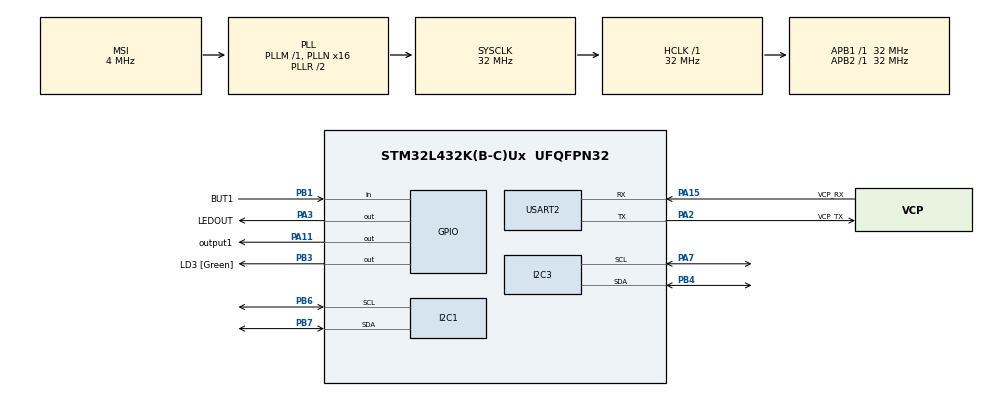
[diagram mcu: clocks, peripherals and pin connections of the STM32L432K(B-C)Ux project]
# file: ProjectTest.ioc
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I2C1.OwnAddress=0x10
I2C1.Timing=0x00707CBB
I2C3.Timing=0x00707CBB
Mcu.Family=STM32L4
Mcu.Name=STM32L432K(B-C)Ux
Mcu.Package=UFQFPN32
NVIC.I2C1_ER_IRQn=true\:0\:0\:false\:false\:true\:true\:true\:true
NVIC.I2C1_EV_IRQn=true\:0\:0\:false\:false\:true\:true\:true\:true
NVIC.I2C3_ER_IRQn=true\:0\:0\:false\:false\:true\:true\:true\:true
NVIC.I2C3_EV_IRQn=true\:0\:0\:false\:false\:true\:true\:true\:true
NVIC.PriorityGroup=NVIC_PRIORITYGROUP_4
PA0.GPIO_Label=MCO [High speed clock in]
PA0.Mode=HSE-External-Clock-Source-for-LittleOrca
PA0.Signal=RCC_CK_IN
PA11.GPIO_Label=output1
PA11.GPIO_PuPd=GPIO_NOPULL
PA11.GPIO_Speed=GPIO_SPEED_FREQ_LOW
PA11.Signal=GPIO_Output
PA13\ (JTMS-SWDIO).GPIO_Label=SWDIO
PA13\ (JTMS-SWDIO).Mode=Serial_Wire
PA13\ (JTMS-SWDIO).Signal=SYS_JTMS-SWDIO
PA14\ (JTCK-SWCLK).GPIO_Label=SWCLK
PA14\ (JTCK-SWCLK).Mode=Serial_Wire
PA14\ (JTCK-SWCLK).Signal=SYS_JTCK-SWCLK
PA15\ (JTDI).GPIO_Label=VCP_RX
PA15\ (JTDI).Mode=Asynchronous
PA15\ (JTDI).Signal=USART2_RX
PA2.GPIO_Label=VCP_TX
PA2.Mode=Asynchronous
PA2.Signal=USART2_TX
PA3.GPIO_Label=LEDOUT
PA3.Signal=GPIO_Output
PA7.GPIO_Pu=GPIO_PULLUP
PA7.Mode=I2C
PA7.Signal=I2C3_SCL
PB1.GPIO_Label=BUT1
PB1.GPIO_PuPd=GPIO_PULLUP
PB1.Signal=GPIO_Input
PB3\ (JTDO-TRACESWO).GPIO_Label=LD3 [Green]
PB3\ (JTDO-TRACESWO).GPIO_PuPd=GPIO_NOPULL
PB3\ (JTDO-TRACESWO).GPIO_Speed=GPIO_SPEED_FREQ_LOW
PB3\ (JTDO-TRACESWO).Signal=GPIO_Output
PB4\ (NJTRST).GPIO_Pu=GPIO_PULLUP
PB4\ (NJTRST).Mode=I2C
PB4\ (NJTRST).Signal=I2C3_SDA
PB6.GPIO_Pu=GPIO_PULLUP
PB6.Mode=I2C
PB6.Signal=I2C1_SCL
PB7.GPIO_Pu=GPIO_PULLUP
PB7.Mode=I2C
PB7.Signal=I2C1_SDA
PC14-OSC32_IN\ (PC14).Mode=LSE-External-Oscillator
PC14-OSC32_IN\ (PC14).Signal=RCC_OSC32_IN
PC15-OSC32_OUT\ (PC15).Mode=LSE-External-Oscillator
PC15-OSC32_OUT\ (PC15).Signal=RCC_OSC32_OUT
ProjectManager.HeapSize=0x200
ProjectManager.StackSize=0x400
ProjectManager.TargetToolchain=STM32CubeIDE
RCC.AHBFreq_Value=32000000
RCC.APB1Freq_Value=32000000
RCC.APB1TimFreq_Value=32000000
RCC.APB2Freq_Value=32000000
RCC.APB2TimFreq_Value=32000000
RCC.CortexFreq_Value=32000000
RCC.HCLKFreq_Value=32000000
RCC.HSE_VALUE=8000000
RCC.HSI16_VALUE=16000000
RCC.HSI48_VALUE=48000000
RCC.HSI_VALUE=16000000
RCC.MSI_VALUE=4000000
RCC.PLLMUL=RCC_PLLMUL_4
RCC.PLLN=16
RCC.SYSCLKFreq_VALUE=32000000
RCC.SYSCLKSource=RCC_SYSCLKSOURCE_PLLCLK
RCC.VCOOutputFreq_Value=64000000
USART2.VirtualMode-Asynchronous=VM_ASYNC
board=NUCLEO-L432KC

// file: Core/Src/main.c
/* USER CODE BEGIN Header */
/**
  ******************************************************************************
  * @file           : main.c
  * @brief          : Main program body
  ******************************************************************************
  * @attention
  *
  * Copyright (c) 2024 STMicroelectronics.
  * All rights reserved.
  *
  * This software is licensed under terms that can be found in the LICENSE file
  * in the root directory of this software component.
  * If no LICENSE file comes with this software, it is provided AS-IS.
  *
  ******************************************************************************
  */
/* USER CODE END Header */
#include "main.h"

/* USER CODE BEGIN Includes */
#include <string.h>
#include <stdio.h>
#include <stdlib.h>
#include "sht3x.h"
/* USER CODE END Includes */

/* USER CODE BEGIN PD */
#define BUF_SIZE 2;
/* USER CODE END PD */

I2C_HandleTypeDef hi2c1;
I2C_HandleTypeDef hi2c3;

UART_HandleTypeDef huart2;

/* USER CODE BEGIN PV */
//static const uint8_t SGP30_ADDR = 0x44 << 1;
//static const uint8_t REG_GAS = 0x00;
uint8_t received_command = 0;
uint8_t buf[12];
float temp = 20;

/* USER CODE END PV */

void SystemClock_Config(void);
static void MX_GPIO_Init(void);
static void MX_USART2_UART_Init(void);
static void MX_I2C1_Init(void);
static void MX_I2C3_Init(void);

int main(void)
{
  /* USER CODE BEGIN 1 */
//	HAL_StatusTypeDef ret;

//	int16_t val;
//	float temp_c;

	sht3x_handle_t handle = {
	    .i2c_handle = &hi2c3,
	    .device_address = SHT3X_I2C_DEVICE_ADDRESS_ADDR_PIN_LOW
	};

	if (!sht3x_init(&handle)) {
	    printf("SHT3x access failed.\n\r");
	}

  /* USER CODE END 1 */

  /* MCU Configuration--------------------------------------------------------*/

  /* Reset of all peripherals, Initializes the Flash interface and the Systick. */
  HAL_Init();

  /* Configure the system clock */
  SystemClock_Config();

  /* Initialize all configured peripherals */
  MX_GPIO_Init();
  MX_USART2_UART_Init();
  MX_I2C1_Init();
  MX_I2C3_Init();

  /* Infinite loop */
  /* USER CODE BEGIN WHILE */
  HAL_UART_Transmit(&huart2, "Hallo!\n\r", 8, HAL_MAX_DELAY);
  HAL_I2C_Slave_Receive_IT(&hi2c1, &received_command, 1);

  while (1)
  {
	  float humidity;
	  HAL_I2C_Slave_Receive_IT(&hi2c1, &received_command, 1);
	  sht3x_read_temperature_and_humidity(&handle, &temp, &humidity);
	  sprintf((char*) buf, "%u", (unsigned int) temp);
	  //HAL_UART_Transmit(&huart2, buf, strlen((char*)buf), HAL_MAX_DELAY);
	  //HAL_GPIO_TogglePin(LEDOUT_GPIO_Port, LEDOUT_Pin);
	  HAL_Delay(10);
    /* USER CODE END WHILE */

  }
}

void SystemClock_Config(void)
{
  RCC_OscInitTypeDef RCC_OscInitStruct = {0};
  RCC_ClkInitTypeDef RCC_ClkInitStruct = {0};

  /** Configure the main internal regulator output voltage
  */
  if (HAL_PWREx_ControlVoltageScaling(PWR_REGULATOR_VOLTAGE_SCALE1) != HAL_OK)
  {
    Error_Handler();
  }

  /** Configure LSE Drive Capability
  */
  HAL_PWR_EnableBkUpAccess();
  __HAL_RCC_LSEDRIVE_CONFIG(RCC_LSEDRIVE_LOW);

  /** Initializes the RCC Oscillators according to the specified parameters
  * in the RCC_OscInitTypeDef structure.
  */
  RCC_OscInitStruct.OscillatorType = RCC_OSCILLATORTYPE_LSE|RCC_OSCILLATORTYPE_MSI;
  RCC_OscInitStruct.LSEState = RCC_LSE_ON;
  RCC_OscInitStruct.MSIState = RCC_MSI_ON;
  RCC_OscInitStruct.MSICalibrationValue = 0;
  RCC_OscInitStruct.MSIClockRange = RCC_MSIRANGE_6;
  RCC_OscInitStruct.PLL.PLLState = RCC_PLL_ON;
  RCC_OscInitStruct.PLL.PLLSource = RCC_PLLSOURCE_MSI;
  RCC_OscInitStruct.PLL.PLLM = 1;
  RCC_OscInitStruct.PLL.PLLN = 16;
  RCC_OscInitStruct.PLL.PLLP = RCC_PLLP_DIV7;
  RCC_OscInitStruct.PLL.PLLQ = RCC_PLLQ_DIV2;
  RCC_OscInitStruct.PLL.PLLR = RCC_PLLR_DIV2;
  if (HAL_RCC_OscConfig(&RCC_OscInitStruct) != HAL_OK)
  {
    Error_Handler();
  }

  /** Initializes the CPU, AHB and APB buses clocks
  */
  RCC_ClkInitStruct.ClockType = RCC_CLOCKTYPE_HCLK|RCC_CLOCKTYPE_SYSCLK
                              |RCC_CLOCKTYPE_PCLK1|RCC_CLOCKTYPE_PCLK2;
  RCC_ClkInitStruct.SYSCLKSource = RCC_SYSCLKSOURCE_PLLCLK;
  RCC_ClkInitStruct.AHBCLKDivider = RCC_SYSCLK_DIV1;
  RCC_ClkInitStruct.APB1CLKDivider = RCC_HCLK_DIV1;
  RCC_ClkInitStruct.APB2CLKDivider = RCC_HCLK_DIV1;

  if (HAL_RCC_ClockConfig(&RCC_ClkInitStruct, FLASH_LATENCY_1) != HAL_OK)
  {
    Error_Handler();
  }

  /** Enable MSI Auto calibration
  */
  HAL_RCCEx_EnableMSIPLLMode();
}

static void MX_I2C1_Init(void)
{

  hi2c1.Instance = I2C1;
  hi2c1.Init.Timing = 0x00707CBB;
  hi2c1.Init.OwnAddress1 = 32;
  hi2c1.Init.AddressingMode = I2C_ADDRESSINGMODE_7BIT;
  hi2c1.Init.DualAddressMode = I2C_DUALADDRESS_DISABLE;
  hi2c1.Init.OwnAddress2 = 0;
  hi2c1.Init.OwnAddress2Masks = I2C_OA2_NOMASK;
  hi2c1.Init.GeneralCallMode = I2C_GENERALCALL_DISABLE;
  hi2c1.Init.NoStretchMode = I2C_NOSTRETCH_DISABLE;
  if (HAL_I2C_Init(&hi2c1) != HAL_OK)
  {
    Error_Handler();
  }

  /** Configure Analogue filter
  */
  if (HAL_I2CEx_ConfigAnalogFilter(&hi2c1, I2C_ANALOGFILTER_ENABLE) != HAL_OK)
  {
    Error_Handler();
  }

  /** Configure Digital filter
  */
  if (HAL_I2CEx_ConfigDigitalFilter(&hi2c1, 0) != HAL_OK)
  {
    Error_Handler();
  }

}

static void MX_I2C3_Init(void)
{

  hi2c3.Instance = I2C3;
  hi2c3.Init.Timing = 0x00707CBB;
  hi2c3.Init.OwnAddress1 = 0;
  hi2c3.Init.AddressingMode = I2C_ADDRESSINGMODE_7BIT;
  hi2c3.Init.DualAddressMode = I2C_DUALADDRESS_DISABLE;
  hi2c3.Init.OwnAddress2 = 0;
  hi2c3.Init.OwnAddress2Masks = I2C_OA2_NOMASK;
  hi2c3.Init.GeneralCallMode = I2C_GENERALCALL_DISABLE;
  hi2c3.Init.NoStretchMode = I2C_NOSTRETCH_DISABLE;
  if (HAL_I2C_Init(&hi2c3) != HAL_OK)
  {
    Error_Handler();
  }

  /** Configure Analogue filter
  */
  if (HAL_I2CEx_ConfigAnalogFilter(&hi2c3, I2C_ANALOGFILTER_ENABLE) != HAL_OK)
  {
    Error_Handler();
  }

  /** Configure Digital filter
  */
  if (HAL_I2CEx_ConfigDigitalFilter(&hi2c3, 0) != HAL_OK)
  {
    Error_Handler();
  }

}

static void MX_USART2_UART_Init(void)
{

  huart2.Instance = USART2;
  huart2.Init.BaudRate = 115200;
  huart2.Init.WordLength = UART_WORDLENGTH_8B;
  huart2.Init.StopBits = UART_STOPBITS_1;
  huart2.Init.Parity = UART_PARITY_NONE;
  huart2.Init.Mode = UART_MODE_TX_RX;
  huart2.Init.HwFlowCtl = UART_HWCONTROL_NONE;
  huart2.Init.OverSampling = UART_OVERSAMPLING_16;
  huart2.Init.OneBitSampling = UART_ONE_BIT_SAMPLE_DISABLE;
  huart2.AdvancedInit.AdvFeatureInit = UART_ADVFEATURE_NO_INIT;
  if (HAL_UART_Init(&huart2) != HAL_OK)
  {
    Error_Handler();
  }

}

static void MX_GPIO_Init(void)
{
  GPIO_InitTypeDef GPIO_InitStruct = {0};

  /* GPIO Ports Clock Enable */
  __HAL_RCC_GPIOC_CLK_ENABLE();
  __HAL_RCC_GPIOA_CLK_ENABLE();
  __HAL_RCC_GPIOB_CLK_ENABLE();

  /*Configure GPIO pin Output Level */
  HAL_GPIO_WritePin(GPIOA, LEDOUT_Pin|output1_Pin, GPIO_PIN_RESET);

  /*Configure GPIO pin Output Level */
  HAL_GPIO_WritePin(LD3_GPIO_Port, LD3_Pin, GPIO_PIN_RESET);

  /*Configure GPIO pins : LEDOUT_Pin output1_Pin */
  GPIO_InitStruct.Pin = LEDOUT_Pin|output1_Pin;
  GPIO_InitStruct.Mode = GPIO_MODE_OUTPUT_PP;
  GPIO_InitStruct.Pull = GPIO_NOPULL;
  GPIO_InitStruct.Speed = GPIO_SPEED_FREQ_LOW;
  HAL_GPIO_Init(GPIOA, &GPIO_InitStruct);

  /*Configure GPIO pin : BUT1_Pin */
  GPIO_InitStruct.Pin = BUT1_Pin;
  GPIO_InitStruct.Mode = GPIO_MODE_INPUT;
  GPIO_InitStruct.Pull = GPIO_PULLUP;
  HAL_GPIO_Init(BUT1_GPIO_Port, &GPIO_InitStruct);

  /*Configure GPIO pin : LD3_Pin */
  GPIO_InitStruct.Pin = LD3_Pin;
  GPIO_InitStruct.Mode = GPIO_MODE_OUTPUT_PP;
  GPIO_InitStruct.Pull = GPIO_NOPULL;
  GPIO_InitStruct.Speed = GPIO_SPEED_FREQ_LOW;
  HAL_GPIO_Init(LD3_GPIO_Port, &GPIO_InitStruct);

}

/* USER CODE BEGIN 4 */
void HAL_I2C_SlaveRxCpltCallback(I2C_HandleTypeDef *hi2c) {
	if (received_command == 0x01) {
		HAL_UART_Transmit(&huart2, (uint8_t*) "Received TEMP flag, returning temp: ", 40, HAL_MAX_DELAY);
		HAL_UART_Transmit(&huart2, buf, strlen((char*)buf), HAL_MAX_DELAY);
		HAL_UART_Transmit(&huart2, (uint8_t*) "\n\r", 2, HAL_MAX_DELAY);
	    if (HAL_I2C_Slave_Transmit_IT(&hi2c1, buf, strlen((char*)buf)) != HAL_OK) {
	    	HAL_UART_Transmit(&huart2, (uint8_t*) "Didn't work!\n\r", 40, HAL_MAX_DELAY);
	    }
	    HAL_I2C_Slave_Receive_IT(&hi2c1, &received_command, 1);
	} else if (received_command == 0x02) {
		HAL_UART_Transmit(&huart2, (uint8_t*) "Received LEDON flag, turning LED ON\n\r", 40, HAL_MAX_DELAY);
		HAL_GPIO_WritePin(LEDOUT_GPIO_Port, LEDOUT_Pin, GPIO_PIN_SET);
		HAL_I2C_Slave_Receive_IT(&hi2c1, &received_command, 1);
	} else if (received_command == 0x03) {
		HAL_UART_Transmit(&huart2, (uint8_t*) "Received LEDOFF flag, turning LED OFF\n\r", 40, HAL_MAX_DELAY);
		HAL_GPIO_WritePin(LEDOUT_GPIO_Port, LEDOUT_Pin, GPIO_PIN_RESET);
		HAL_I2C_Slave_Receive_IT(&hi2c1, &received_command, 1);
	} else if (received_command == 0x04) {
		/*HAL_UART_Transmit(&huart2, (uint8_t*) "Received BUTTON flag, returning button state: ", 46, HAL_MAX_DELAY);
		uint8_t value = !HAL_GPIO_ReadPin(BUT1_GPIO_Port, BUT1_Pin);
		uint8_t buf2[4];
		snprintf((char*)buf2, sizeof (buf2), "%d\n\r", value);
		HAL_UART_Transmit(&huart2, (uint8_t*)buf2, strlen((char*)buf2), HAL_MAX_DELAY);
		if (HAL_I2C_Slave_Transmit_IT(&hi2c1, (uint8_t*) buf2, strlen((char*)buf2)) != HAL_OK) {
			HAL_UART_Transmit(&huart2, (uint8_t*) "Didn't work!\n\r", 40, HAL_MAX_DELAY);
		}
		HAL_I2C_Slave_Receive_IT(&hi2c1, &received_command, 1);*/
	} else {
		HAL_UART_Transmit(&huart2, (uint8_t*) "Huh?\n", 5, HAL_MAX_DELAY);
	}
}

//void HAL_GPIO_EXTI_Callback(uint16_t GPIO_Pin) {
//	if (GPIO_Pin == BUT1_Pin) {
//		HAL_UART_Transmit(&huart2, (uint8_t*) "Received LEDOFF flag, turning LED ON\n\r", 37, HAL_MAX_DELAY);
//		if (HAL_I2C_Slave_Transmit_IT(&hi2c1, buf, strlen((char*)buf)) != HAL_OK) {
//			HAL_UART_Transmit(&huart2, (uint8_t*) "Didn't work!\n\r", 40, HAL_MAX_DELAY);
//		}
//	}
//}

/* USER CODE END 4 */

void Error_Handler(void)
{
  __disable_irq();
  while (1)
  {
  }
}
